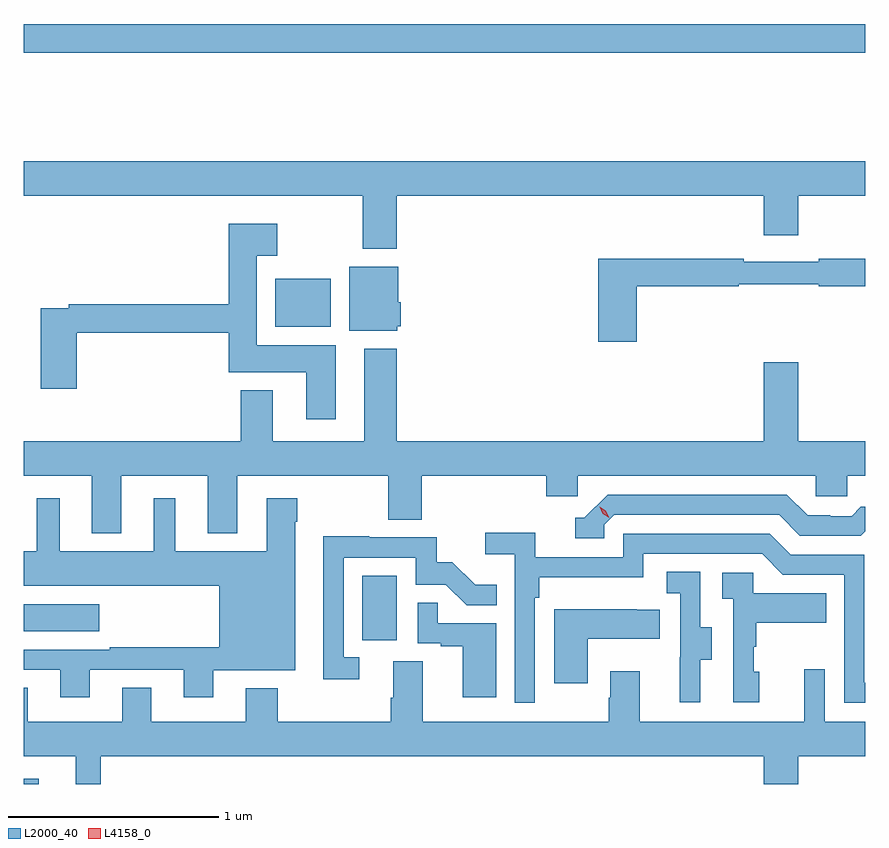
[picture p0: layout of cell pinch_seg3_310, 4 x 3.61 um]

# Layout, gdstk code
import gdstk
lib = gdstk.Library(unit=1e-6, precision=1e-09)
def R(c, l, rs):  # rectangles x0, y0, x1, y1
    for r in rs: c.add(gdstk.rectangle(r[:2], r[2:], *l))
def P(c, l, *ps):  # polygons
    for p in ps: c.add(gdstk.Polygon(p, *l))
L2000_40 = (2000, 40)
L4158_0 = (4158, 0)

pinch_seg3_310 = lib.new_cell('pinch_seg3_310')
R(pinch_seg3_310, L2000_40, [(1000.65,710.107,1000.72,710.131), (1002.26,710.79,1002.424,711.097), (1000.65,710.834,1001.008,710.962), (1001.846,712.28,1002.109,712.51), (1000.65,713.584,1004.65,713.72)])
P(pinch_seg3_310, L2000_40, [(1002.422,712.904),(1004.168,712.904),(1004.168,712.716),(1004.332,712.716),(1004.332,712.904),(1004.65,712.904),(1004.65,713.068),(1000.65,713.068),(1000.65,712.904),(1002.262,712.904),(1002.262,712.652),(1002.422,712.652)],
  [(1002.133,712.192),(1001.758,712.192),(1001.758,712.619),(1001.854,712.619),(1001.854,712.771),(1001.624,712.771),(1001.624,712.388),(1000.864,712.388),(1000.864,712.368),(1000.73,712.368),(1000.73,711.987),(1000.901,711.987),(1000.901,712.252),(1001.624,712.252),(1001.624,712.064),(1001.993,712.064),(1001.993,711.84),(1002.133,711.84)],
  [(1003.565,712.474),(1004.048,712.474),(1004.048,712.482),(1004.43,712.482),(1004.43,712.474),(1004.65,712.474),(1004.65,712.603),(1004.428,712.603),(1004.428,712.59),(1004.072,712.59),(1004.072,712.603),(1003.382,712.603),(1003.382,712.209),(1003.565,712.209)],
  [(1002.426,712.284),(1002.442,712.284),(1002.442,712.398),(1002.43,712.398),(1002.43,712.567),(1002.197,712.567),(1002.197,712.262),(1002.426,712.262)],
  [(1001.113,711.572),(1001.525,711.572),(1001.525,711.299),(1001.665,711.299),(1001.665,711.572),(1002.382,711.572),(1002.382,711.364),(1002.542,711.364),(1002.542,711.572),(1003.133,711.572),(1003.133,711.474),(1003.284,711.474),(1003.284,711.572),(1004.415,711.572),(1004.415,711.474),(1004.565,711.474),(1004.565,711.572),(1004.65,711.572),(1004.65,711.736),(1004.332,711.736),(1004.332,712.111),(1004.168,712.111),(1004.168,711.736),(1002.422,711.736),(1002.422,712.177),(1002.269,712.177),(1002.269,711.736),(1001.833,711.736),(1001.833,711.979),(1001.681,711.979),(1001.681,711.736),(1000.65,711.736),(1000.65,711.572),(1000.973,711.572),(1000.973,711.299),(1001.113,711.299)],
  [(1003.41,711.339),(1003.458,711.387),(1004.241,711.387),(1004.34,711.288),(1004.629,711.288),(1004.65,711.309),(1004.65,711.424),(1004.629,711.424),(1004.587,711.381),(1004.484,711.381),(1004.484,711.384),(1004.377,711.384),(1004.278,711.483),(1003.425,711.483),(1003.314,711.372),(1003.271,711.372),(1003.271,711.276),(1003.41,711.276)],
  [(1000.963,710.649),(1001.411,710.649),(1001.411,710.52),(1001.551,710.52),(1001.551,710.648),(1001.941,710.648),(1001.941,711.353),(1001.949,711.353),(1001.949,711.466),(1001.804,711.466),(1001.804,711.214),(1001.371,711.214),(1001.371,711.466),(1001.267,711.466),(1001.267,711.214),(1000.822,711.214),(1000.822,711.466),(1000.712,711.466),(1000.712,711.214),(1000.65,711.214),(1000.65,711.05),(1001.579,711.05),(1001.579,710.758),(1001.059,710.758),(1001.059,710.745),(1000.65,710.745),(1000.65,710.649),(1000.823,710.649),(1000.823,710.52),(1000.963,710.52)],
  [(1003.08,710.993),(1003.1,710.993),(1003.1,711.089),(1003.596,711.089),(1003.596,711.201),(1004.16,711.201),(1004.259,711.102),(1004.55,711.102),(1004.55,710.493),(1004.65,710.493),(1004.65,710.589),(1004.646,710.589),(1004.646,711.198),(1004.296,711.198),(1004.197,711.297),(1003.5,711.297),(1003.5,711.186),(1003.082,711.186),(1003.082,711.302),(1002.843,711.302),(1002.843,711.2),(1002.984,711.2),(1002.984,710.493),(1003.08,710.493)],
  [(1002.244,710.709),(1002.171,710.709),(1002.171,711.183),(1002.513,711.183),(1002.513,711.054),(1002.657,711.054),(1002.755,710.956),(1002.899,710.956),(1002.899,711.055),(1002.795,711.055),(1002.688,711.162),(1002.612,711.162),(1002.612,711.279),(1002.293,711.279),(1002.293,711.284),(1002.074,711.284),(1002.074,710.604),(1002.244,710.604)],
  [(1003.867,710.698),(1003.921,710.698),(1003.921,710.853),(1003.866,710.853),(1003.866,711.116),(1003.707,711.116),(1003.707,711.013),(1003.77,711.013),(1003.77,710.709),(1003.769,710.709),(1003.769,710.496),(1003.867,710.496)],
  [(1004.146,710.64),(1004.121,710.64),(1004.121,710.759),(1004.131,710.759),(1004.131,710.873),(1004.465,710.873),(1004.465,711.013),(1004.118,711.013),(1004.118,711.111),(1003.971,711.111),(1003.971,710.987),(1004.022,710.987),(1004.022,710.496),(1004.146,710.496)],
  [(1002.895,710.871),(1002.617,710.871),(1002.617,710.969),(1002.522,710.969),(1002.522,710.775),(1002.633,710.775),(1002.633,710.763),(1002.737,710.763),(1002.737,710.52),(1002.895,710.52)],
  [(1003.33,710.798),(1003.673,710.798),(1003.673,710.935),(1003.565,710.935),(1003.565,710.938),(1003.172,710.938),(1003.172,710.586),(1003.33,710.586)],
  [(1001.015,710.24),(1004.168,710.24),(1004.168,710.107),(1004.332,710.107),(1004.332,710.24),(1004.65,710.24),(1004.65,710.404),(1004.457,710.404),(1004.457,710.653),(1004.36,710.653),(1004.36,710.404),(1003.579,710.404),(1003.579,710.644),(1003.439,710.644),(1003.439,710.516),(1003.432,710.516),(1003.432,710.404),(1002.547,710.404),(1002.547,710.69),(1002.407,710.69),(1002.407,710.516),(1002.395,710.516),(1002.395,710.404),(1001.858,710.404),(1001.858,710.563),(1001.705,710.563),(1001.705,710.404),(1001.257,710.404),(1001.257,710.564),(1001.117,710.564),(1001.117,710.404),(1000.669,710.404),(1000.669,710.564),(1000.65,710.564),(1000.65,710.24),(1000.898,710.24),(1000.898,710.107),(1001.015,710.107)])
P(pinch_seg3_310, L4158_0, [(1003.433,711.372),(1003.403,711.392),(1003.387,711.425),(1003.387,711.425),(1003.387,711.425),(1003.417,711.405),(1003.433,711.373),(1003.433,711.372)])

lib.write_gds('pinch_seg3_310.gds')
